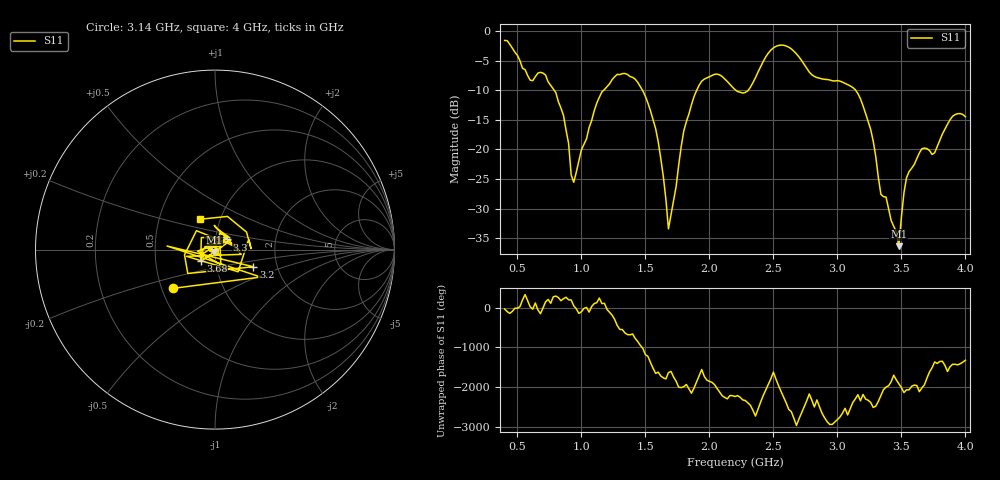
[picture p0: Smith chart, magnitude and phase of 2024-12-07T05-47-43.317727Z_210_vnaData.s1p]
!Created with skrf (http://scikit-rf.org).
# Hz S RI R 50.0
!freq ReS11 ImS11
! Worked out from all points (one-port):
!   181 points, 400 MHz to 4 GHz, reference 50 ohm
!   lowest |S11| = -36.4 dB at 3.48 GHz (marker M1), VSWR 1.03, Z = 49.3 - j1.34 ohm
!   |S11| at or under -10 dB: 788 MHz to 1.173 GHz (385.1 MHz wide, 39.3 % of centre); 1.477 GHz to 1.9 GHz (423 MHz wide, 25 % of centre); 3.143 GHz to end of sweep (the widest 3 of 4)
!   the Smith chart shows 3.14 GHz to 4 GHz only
!   S11 on the Smith chart (normalised r, x): 3.14 GHz: 0.57, -0.27; 3.2 GHz: 1.51, -0.31; 3.3 GHz: 1.13, +0.13; 3.68 GHz: 0.85, -0.11; 4 GHz: 0.80, +0.28
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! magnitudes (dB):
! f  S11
! 400 MHz  -1.6
! 600 MHz  -8.3
! 720 MHz  -7.4
! 860 MHz  -14.2
! 940 MHz  -25.5
! 1.12 GHz  -12.2
! 1.3 GHz  -7.3
! 1.42 GHz  -8.1
! 1.54 GHz  -13.5
! 1.62 GHz  -21.5
! 1.68 GHz  -33.4
! 1.76 GHz  -22.7
! 1.82 GHz  -15.3
! 1.94 GHz  -8.5
! 2.2 GHz  -9.9
! 2.3 GHz  -10.1
! 2.5 GHz  -2.8
! 2.66 GHz  -3.4
! 3.1 GHz  -9.2
! 3.14 GHz  -9.9
! 3.2 GHz  -12.6
! 3.3 GHz  -21.2
! 3.34 GHz  -27.6
! 3.48 GHz  -36.4
! 3.52 GHz  -27.3
! 3.56 GHz  -23.7
! 3.68 GHz  -19.8
! 4 GHz  -14.5
